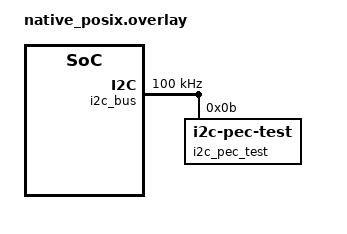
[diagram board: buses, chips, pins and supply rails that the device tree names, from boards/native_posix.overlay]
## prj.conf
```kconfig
CONFIG_I2C=y
CONFIG_ZTEST=y
CONFIG_CRC=y
```

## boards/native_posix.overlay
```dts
/*
 * Copyright 2023 Google LLC
 *
 * SPDX-License-Identifier: Apache-2.0
 */

#include <zephyr/dt-bindings/i2c/i2c.h>

/ {
	i2c_bus: i2c@100 {
		compatible = "zephyr,i2c-emul-controller";
		clock-frequency = <I2C_BITRATE_STANDARD>;
		status = "okay";

		#address-cells = <1>;
		#size-cells = <0>;
		reg = <0x100 4>;
	};
};

&i2c_bus {
	compatible = "zephyr,i2c-emul-controller";

	i2c_pec_test: i2c_pec_test@b {
		compatible = "zephyr,i2c-pec-test";
		reg = <0x0b>;
		status = "okay";
	};
};
```

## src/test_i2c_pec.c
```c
/*
 * Copyright (c) 2023 Google, Inc
 *
 * SPDX-License-Identifier: Apache-2.0
 */

#include <zephyr/drivers/emul.h>
#include <zephyr/drivers/i2c.h>
#include <zephyr/drivers/i2c_pec_test_emul.h>
#include <zephyr/kernel.h>
#include <zephyr/ztest.h>

#define I2C_BUS DEVICE_DT_GET(DT_NODELABEL(i2c_bus))
#define EMUL_DEV EMUL_DT_GET(DT_NODELABEL(i2c_pec_test))
#define DEV_ADDR 0x0b

static const uint8_t test_pattern[] = {
	16, 0, 1, 2, 3, 4, 5, 6, 7, 8, 9, 10,
	11, 12, 13, 14, 15
};
static uint8_t buf[sizeof(test_pattern)];

static const struct i2c_dt_spec dt = {
	.bus = I2C_BUS,
	.addr = DEV_ADDR,
};

/* Validate reset state. */
ZTEST(i2c_pec, test_i2c_pec_reset)
{
	int rc;
	const uint8_t reset_state[] = {
		16, 0, 0, 0, 0, 0, 0, 0, 0, 0, 0, 0, 0, 0, 0, 0, 0
	};

	memset(buf, 0xff, sizeof(buf));
	rc = i2c_pec_burst_read_dt(&dt, 0, buf, sizeof(test_pattern));
	zassert_ok(rc);
	zassert_ok(memcmp(buf, reset_state, sizeof(reset_state)));
	zassert_true(i2c_pec_test_emul_is_idle(EMUL_DEV));
	zassert_false(i2c_pec_test_emul_get_corrupt(EMUL_DEV));
}

/* Validate normal R/W. */
ZTEST(i2c_pec, test_i2c_pec_rw)
{
	int rc;
	/*
	 * PEC data:
	 * 0x16 (I2C addr + write)
	 * 0x00 (start index)
	 * 0x10 (write length)
	 * 0x00 0x01 0x02 0x03 0x04 0x05 0x06 0x07 0x08 0x09 0x0a 0x0b 0x0c
	 * 0x0d 0x0e 0x0f (data)
	 * crc8 result: 0x18
	 */
	rc = i2c_pec_burst_write_dt(&dt, 0, test_pattern, sizeof(test_pattern));
	zassert_ok(rc);
	zassert_true(i2c_pec_test_emul_is_idle(EMUL_DEV));
	zassert_equal(i2c_pec_test_emul_get_last_pec(EMUL_DEV), 0x18);

	/*
	 * PEC data:
	 * 0x16 (I2C addr + write)
	 * 0x00 (start index)
	 * 0x17 (I2C addr + read)
	 * 0x10 (read length)
	 * 0x00 0x01 0x02 0x03 0x04 0x05 0x06 0x07 0x08 0x09 0x0a 0x0b 0x0c
	 * 0x0d 0x0e 0x0f (data)
	 * crc8 result: 0xff
	 */
	memset(buf, 0, sizeof(buf));
	rc = i2c_pec_burst_read_dt(&dt, 0, buf, sizeof(test_pattern));
	zassert_ok(rc);
	zassert_ok(memcmp(buf, test_pattern, sizeof(test_pattern)));
	zassert_true(i2c_pec_test_emul_is_idle(EMUL_DEV));
	zassert_equal(i2c_pec_test_emul_get_last_pec(EMUL_DEV), 0xff);
}

/* Validate corrupting PEC results in as error. */
ZTEST(i2c_pec, test_i2c_pec_corrupt)
{
	int rc;

	i2c_pec_test_emul_set_corrupt(EMUL_DEV, true);
	zassert_true(i2c_pec_test_emul_get_corrupt(EMUL_DEV));

	rc = i2c_pec_burst_write_dt(&dt, 0, test_pattern,
				    sizeof(test_pattern));
	zassert_equal(rc, -EIO);
	zassert_true(i2c_pec_test_emul_is_idle(EMUL_DEV));

	memset(buf, 0, sizeof(buf));
	rc = i2c_pec_burst_read_dt(&dt, 0, buf,
				   sizeof(test_pattern));
	zassert_equal(rc, -EAGAIN);
	zassert_true(i2c_pec_test_emul_is_idle(EMUL_DEV));
}

ZTEST_SUITE(i2c_pec, NULL, NULL, NULL, NULL, NULL);
```
